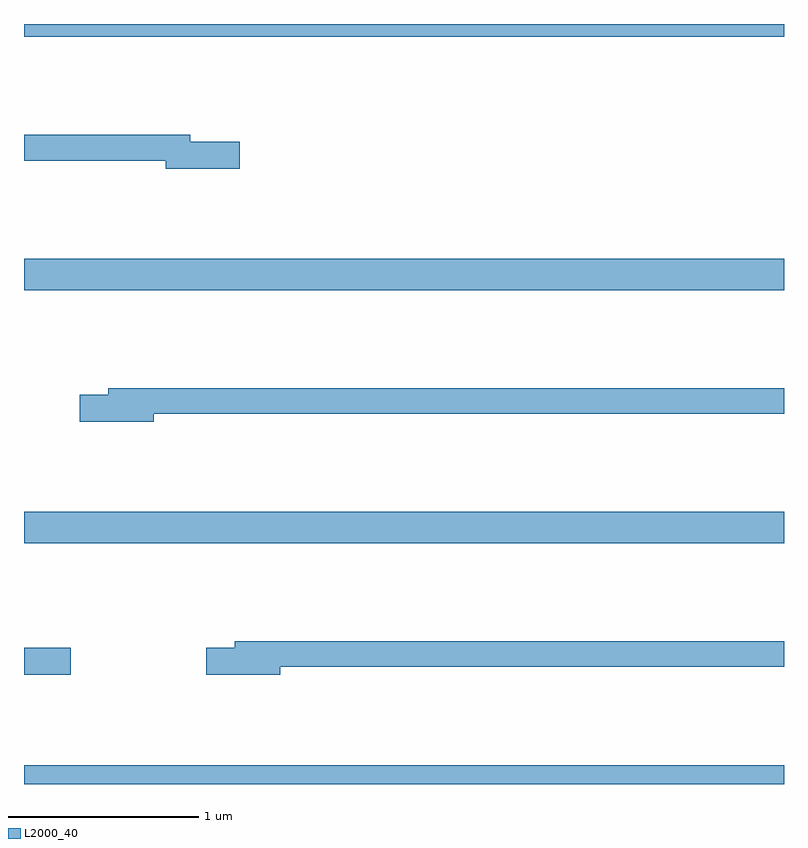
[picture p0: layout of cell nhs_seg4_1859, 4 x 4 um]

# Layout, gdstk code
import gdstk
lib = gdstk.Library(unit=1e-6, precision=1e-09)
def R(c, l, rs):  # rectangles x0, y0, x1, y1
    for r in rs: c.add(gdstk.rectangle(r[:2], r[2:], *l))
def P(c, l, *ps):  # polygons
    for p in ps: c.add(gdstk.Polygon(p, *l))
L2000_40 = (2000, 40)

nhs_seg4_1859 = lib.new_cell('nhs_seg4_1859')
R(nhs_seg4_1859, L2000_40, [(207,780.9,211,781), (207,781.474,207.247,781.616), (207,782.168,211,782.332), (207,783.5,211,783.664), (207,784.832,211,784.9)])
P(nhs_seg4_1859, L2000_40, [(208.135,784.28),(207.874,784.28),(207.874,784.316),(207,784.316),(207,784.18),(207.746,784.18),(207.746,784.138),(208.135,784.138)],
  [(207.682,782.848),(211,782.848),(211,782.984),(207.443,782.984),(207.443,782.948),(207.294,782.948),(207.294,782.806),(207.682,782.806)],
  [(208.348,781.516),(211,781.516),(211,781.652),(208.109,781.652),(208.109,781.616),(207.96,781.616),(207.96,781.474),(208.348,781.474)])

lib.write_gds('nhs_seg4_1859.gds')
